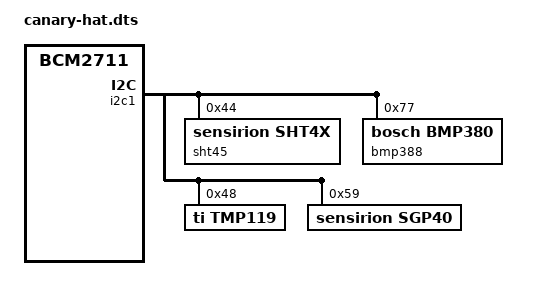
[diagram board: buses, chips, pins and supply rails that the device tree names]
/dts-v1/;
/plugin/;

/ {
	compatible = "brcm,bcm2711";

	fragment@0 {
		target = <&i2c1>;
		__overlay__ {
			#address-cells = <1>;
			#size-cells = <0>;
			status = "okay";

			sht45@44 {
				compatible = "sensirion,sht4x";
				reg = <0x44>;
			};

			bmp388@77 {
				compatible = "bosch,bmp380";
				reg = <0x77>;
			};

			tmp119@48 {
				compatible = "ti,tmp119";
				reg = <0x48>;
			};

			sgp40@59 {
				compatible = "sensirion,sgp40";
				reg = <0x59>;
			};
		};
	};
};
